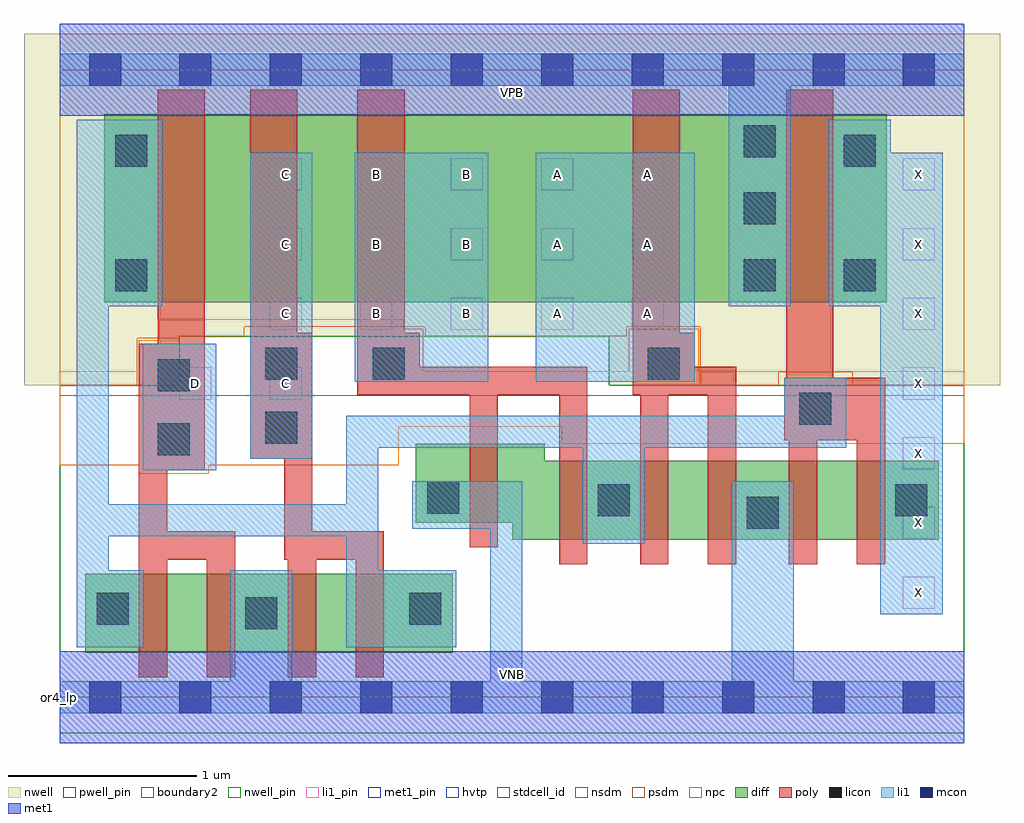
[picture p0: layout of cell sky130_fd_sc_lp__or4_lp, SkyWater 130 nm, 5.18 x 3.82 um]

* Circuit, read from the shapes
.subckt sky130_fd_sc_lp__or4_lp A B C D VGND VNB VPB VPWR X
XM1 n1 D n2 VNB sky130_fd_pr__nfet_01v8 w=0.42 l=0.15
XM2 VGND D n1 VNB sky130_fd_pr__nfet_01v8 w=0.42 l=0.15
XM3 n3 C VGND VNB sky130_fd_pr__nfet_01v8 w=0.42 l=0.15
XM4 n2 C n3 VNB sky130_fd_pr__nfet_01v8 w=0.42 l=0.15
XM5 n4 B VGND VNB sky130_fd_pr__nfet_01v8 w=0.42 l=0.15
XM6 n2 B n4 VNB sky130_fd_pr__nfet_01v8 w=0.42 l=0.15
XM7 n5 A n2 VNB sky130_fd_pr__nfet_01v8 w=0.42 l=0.15
XM8 VGND A n5 VNB sky130_fd_pr__nfet_01v8 w=0.42 l=0.15
XM9 n6 n2 VGND VNB sky130_fd_pr__nfet_01v8 w=0.42 l=0.15
XM10 X n2 n6 VNB sky130_fd_pr__nfet_01v8 w=0.42 l=0.15
XM11 n7 D n2 VPB sky130_fd_pr__pfet_01v8_hvt w=1 l=0.25
XM12 n8 C n7 VPB sky130_fd_pr__pfet_01v8_hvt w=1 l=0.25
XM13 n9 B n8 VPB sky130_fd_pr__pfet_01v8_hvt w=1 l=0.25
XM14 VPWR A n9 VPB sky130_fd_pr__pfet_01v8_hvt w=1 l=0.25
XM15 X n2 VPWR VPB sky130_fd_pr__pfet_01v8_hvt w=1 l=0.25
.ends

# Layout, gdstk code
import gdstk
lib = gdstk.Library(unit=1e-6, precision=1e-09)
def R(c, l, rs):  # rectangles x0, y0, x1, y1
    for r in rs: c.add(gdstk.rectangle(r[:2], r[2:], *l))
def A(c, l, x, y, w, h, nx, ny, dx, dy):  # array of equal rectangles
    R(c, l, [(x+i*dx, y+j*dy, x+i*dx+w, y+j*dy+h) for i in range(nx) for j in range(ny)])
def P(c, l, *ps):  # polygons
    for p in ps: c.add(gdstk.Polygon(p, *l))
nwell_pin = (64, 16)
nwell = (64, 20)
diff = (65, 20)
poly = (66, 20)
licon = (66, 44)
li1_pin = (67, 16)
li1 = (67, 20)
mcon = (67, 44)
met1_pin = (68, 16)
met1 = (68, 20)
hvtp = (78, 44)
stdcell_id = (81, 4)
nsdm = (93, 44)
psdm = (94, 20)
npc = (95, 20)
pwell_pin = (122, 16)
boundary2 = (236, 0)

sky130_fd_sc_lp__or4_lp = lib.new_cell('sky130_fd_sc_lp__or4_lp')
R(sky130_fd_sc_lp__or4_lp, nwell_pin, [(0,3.085,4.8,3.33)])
P(sky130_fd_sc_lp__or4_lp, nwell, [(4.99,3.52),(-0.19,3.52),(-0.19,1.655),(0.635,1.655),(0.635,1.915),(2.915,1.915),(2.915,1.655),(4.99,1.655)])
R(sky130_fd_sc_lp__or4_lp, diff, [(0.135,0.235,2.085,0.655), (0.235,2.095,4.39,3.095)])
P(sky130_fd_sc_lp__or4_lp, diff, [(4.665,1.255),(2.575,1.255),(2.575,1.345),(1.89,1.345),(1.89,0.925),(2.4,0.925),(2.4,0.835),(4.665,0.835)])
P(sky130_fd_sc_lp__or4_lp, poly, [(0.93,0.88),(0.57,0.88),(0.57,1.205),(0.77,1.205),(0.77,3.225),(0.52,3.225),(0.52,1.875),(0.42,1.875),(0.42,0.105),(0.57,0.105),(0.57,0.73),(0.78,0.73),(0.78,0.105),(0.93,0.105)],
  [(1.72,0.88),(1.34,0.88),(1.34,1.935),(1.26,1.935),(1.26,3.225),(1.01,3.225),(1.01,1.265),(1.19,1.265),(1.19,0.73),(1.21,0.73),(1.21,0.105),(1.36,0.105),(1.36,0.73),(1.57,0.73),(1.57,0.105),(1.72,0.105)],
  [(2.8,1.755),(1.91,1.755),(1.91,1.935),(1.83,1.935),(1.83,3.225),(1.58,3.225),(1.58,1.605),(2.175,1.605),(2.175,0.795),(2.325,0.795),(2.325,1.605),(2.65,1.605),(2.65,0.705),(2.8,0.705)],
  [(3.59,1.755),(3.37,1.755),(3.37,1.935),(3.29,1.935),(3.29,3.225),(3.04,3.225),(3.04,1.605),(3.08,1.605),(3.08,0.705),(3.23,0.705),(3.23,1.605),(3.44,1.605),(3.44,0.705),(3.59,0.705)],
  [(4.38,1.695),(4.105,1.695),(4.105,3.225),(3.855,3.225),(3.855,1.695),(3.845,1.695),(3.845,1.365),(3.87,1.365),(3.87,0.705),(4.02,0.705),(4.02,1.365),(4.23,1.365),(4.23,0.705),(4.38,0.705)])
A(sky130_fd_sc_lp__or4_lp, licon, 3.63, 2.155, 0.17, 0.17, 1, 3, 0, 0.355)
R(sky130_fd_sc_lp__or4_lp, licon, [(0.985,0.36,1.155,0.53), (0.195,0.385,0.365,0.555), (1.855,0.385,2.025,0.555), (3.645,0.895,3.815,1.065), (2.855,0.96,3.025,1.13), (4.435,0.96,4.605,1.13), (1.95,0.975,2.12,1.145), (0.52,1.285,0.69,1.455), (1.09,1.345,1.26,1.515), (3.925,1.445,4.095,1.615), (0.52,1.625,0.69,1.795), (1.09,1.685,1.26,1.855), (1.66,1.685,1.83,1.855), (3.12,1.685,3.29,1.855), (0.295,2.155,0.465,2.325), (4.16,2.155,4.33,2.325), (0.295,2.815,0.465,2.985), (4.16,2.815,4.33,2.985)])
A(sky130_fd_sc_lp__or4_lp, li1_pin, 4.475, 0.47, 0.17, 0.17, 1, 7, 0, 0.37)
A(sky130_fd_sc_lp__or4_lp, li1_pin, 1.115, 1.95, 0.17, 0.17, 5, 3, 0.48, 0.37)
R(sky130_fd_sc_lp__or4_lp, li1_pin, [(0.635,1.58,0.805,1.75), (1.115,1.58,1.285,1.75)])
R(sky130_fd_sc_lp__or4_lp, li1, [(0.44,1.205,0.83,1.875), (1.01,1.265,1.34,2.89), (1.565,1.675,2.275,2.89), (2.525,1.675,3.37,2.89)])
P(sky130_fd_sc_lp__or4_lp, li1, [(3.55,2.075),(3.55,3.245),(0,3.245),(0,3.415),(4.8,3.415),(4.8,3.245),(3.88,3.245),(3.88,2.075)],
  [(3.565,0.085),(3.565,1.145),(3.895,1.145),(3.895,0.085),(4.8,0.085),(4.8,-0.085),(0,-0.085),(0,0.085),(0.905,0.085),(0.905,0.675),(1.235,0.675),(1.235,0.085),(2.285,0.085),(2.285,0.895),(1.87,0.895),(1.87,1.145),(2.455,1.145),(2.455,0.085)],
  [(0.26,1.025),(1.52,1.025),(1.52,1.495),(3.845,1.495),(3.845,1.695),(4.175,1.695),(4.175,1.325),(3.105,1.325),(3.105,0.815),(2.775,0.815),(2.775,1.325),(1.69,1.325),(1.69,0.675),(2.105,0.675),(2.105,0.265),(1.52,0.265),(1.52,0.855),(0.26,0.855),(0.26,0.675),(0.445,0.675),(0.445,0.265),(0.09,0.265),(0.09,3.065),(0.545,3.065),(0.545,2.075),(0.26,2.075)],
  [(4.355,0.44),(4.355,2.075),(4.08,2.075),(4.08,3.065),(4.41,3.065),(4.41,2.89),(4.685,2.89),(4.685,0.44)])
A(sky130_fd_sc_lp__or4_lp, mcon, 0.155, -0.085, 0.17, 0.17, 10, 2, 0.48, 3.33)
R(sky130_fd_sc_lp__or4_lp, met1_pin, [(0,0,4.8,0.245), (0,3.085,4.8,3.33)])
R(sky130_fd_sc_lp__or4_lp, met1, [(0,-0.245,4.8,0.245), (0,3.085,4.8,3.575)])
R(sky130_fd_sc_lp__or4_lp, hvtp, [(0,1.6,4.8,3.33)])
R(sky130_fd_sc_lp__or4_lp, stdcell_id, [(0,0,4.8,3.33)])
P(sky130_fd_sc_lp__or4_lp, nsdm, [(4.8,1.655),(2.915,1.655),(2.915,1.915),(0.635,1.915),(0.635,1.655),(0,1.655),(0,-0.19),(4.8,-0.19)])
P(sky130_fd_sc_lp__or4_lp, psdm, [(4.8,3.52),(0,3.52),(0,1.655),(0.41,1.655),(0.41,1.905),(0.635,1.905),(0.635,1.915),(0.98,1.915),(0.98,1.965),(1.94,1.965),(1.94,1.915),(3.01,1.915),(3.01,1.965),(3.4,1.965),(3.4,1.655),(3.815,1.655),(3.815,1.725),(4.205,1.725),(4.205,1.655),(4.8,1.655)])
P(sky130_fd_sc_lp__or4_lp, npc, [(4.8,1.73),(3.39,1.73),(3.39,1.955),(3.02,1.955),(3.02,1.73),(1.93,1.73),(1.93,1.955),(1.825,1.955),(1.825,2.005),(0.525,2.005),(0.525,1.895),(0.42,1.895),(0.42,1.73),(0,1.73),(0,1.23),(0.42,1.23),(0.42,1.185),(0.79,1.185),(0.79,1.23),(1.8,1.23),(1.8,1.435),(2.665,1.435),(2.665,1.345),(4.8,1.345)])
R(sky130_fd_sc_lp__or4_lp, pwell_pin, [(0,0,4.8,0.245)])
R(sky130_fd_sc_lp__or4_lp, boundary2, [(0,0,4.8,3.33)])
sky130_fd_sc_lp__or4_lp.add(gdstk.Label('VNB', (2.4,0.123), layer=64, texttype=59))
sky130_fd_sc_lp__or4_lp.add(gdstk.Label('VPB', (2.4,3.208), layer=64, texttype=5))
sky130_fd_sc_lp__or4_lp.add(gdstk.Label('or4_lp', (0,0), layer=83, texttype=44))
sky130_fd_sc_lp__or4_lp.add(gdstk.Label('VPWR', (2.4,3.208), layer=68, texttype=5))
sky130_fd_sc_lp__or4_lp.add(gdstk.Label('VGND', (2.4,0.123), layer=68, texttype=5))
sky130_fd_sc_lp__or4_lp.add(gdstk.Label('D', (0.72,1.665), layer=67, texttype=5))
sky130_fd_sc_lp__or4_lp.add(gdstk.Label('C', (1.2,1.665), layer=67, texttype=5))
sky130_fd_sc_lp__or4_lp.add(gdstk.Label('C', (1.2,2.035), layer=67, texttype=5))
sky130_fd_sc_lp__or4_lp.add(gdstk.Label('C', (1.2,2.405), layer=67, texttype=5))
sky130_fd_sc_lp__or4_lp.add(gdstk.Label('C', (1.2,2.775), layer=67, texttype=5))
sky130_fd_sc_lp__or4_lp.add(gdstk.Label('B', (1.68,2.035), layer=67, texttype=5))
sky130_fd_sc_lp__or4_lp.add(gdstk.Label('B', (1.68,2.405), layer=67, texttype=5))
sky130_fd_sc_lp__or4_lp.add(gdstk.Label('B', (1.68,2.775), layer=67, texttype=5))
sky130_fd_sc_lp__or4_lp.add(gdstk.Label('B', (2.16,2.035), layer=67, texttype=5))
sky130_fd_sc_lp__or4_lp.add(gdstk.Label('B', (2.16,2.405), layer=67, texttype=5))
sky130_fd_sc_lp__or4_lp.add(gdstk.Label('B', (2.16,2.775), layer=67, texttype=5))
sky130_fd_sc_lp__or4_lp.add(gdstk.Label('A', (2.64,2.035), layer=67, texttype=5))
sky130_fd_sc_lp__or4_lp.add(gdstk.Label('A', (2.64,2.405), layer=67, texttype=5))
sky130_fd_sc_lp__or4_lp.add(gdstk.Label('A', (2.64,2.775), layer=67, texttype=5))
sky130_fd_sc_lp__or4_lp.add(gdstk.Label('A', (3.12,2.035), layer=67, texttype=5))
sky130_fd_sc_lp__or4_lp.add(gdstk.Label('A', (3.12,2.405), layer=67, texttype=5))
sky130_fd_sc_lp__or4_lp.add(gdstk.Label('A', (3.12,2.775), layer=67, texttype=5))
sky130_fd_sc_lp__or4_lp.add(gdstk.Label('X', (4.56,0.555), layer=67, texttype=5))
sky130_fd_sc_lp__or4_lp.add(gdstk.Label('X', (4.56,0.925), layer=67, texttype=5))
sky130_fd_sc_lp__or4_lp.add(gdstk.Label('X', (4.56,1.295), layer=67, texttype=5))
sky130_fd_sc_lp__or4_lp.add(gdstk.Label('X', (4.56,1.665), layer=67, texttype=5))
sky130_fd_sc_lp__or4_lp.add(gdstk.Label('X', (4.56,2.035), layer=67, texttype=5))
sky130_fd_sc_lp__or4_lp.add(gdstk.Label('X', (4.56,2.405), layer=67, texttype=5))
sky130_fd_sc_lp__or4_lp.add(gdstk.Label('X', (4.56,2.775), layer=67, texttype=5))

lib.write_gds('sky130_fd_sc_lp__or4_lp.gds')
